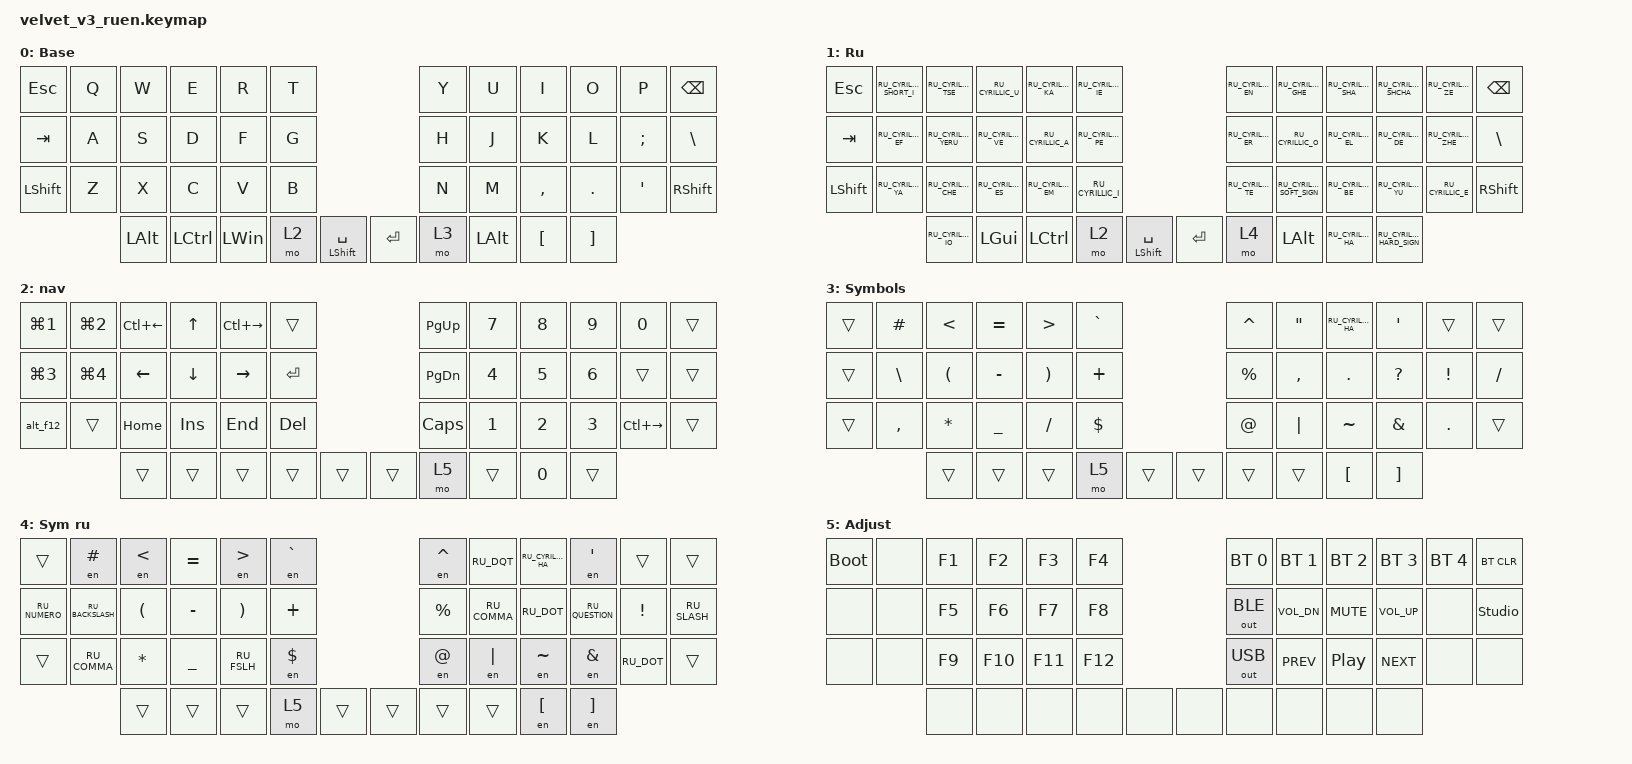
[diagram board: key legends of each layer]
#include "keys_ru.h"
#include <behaviors.dtsi>
#include <dt-bindings/zmk/bt.h>
#include <dt-bindings/zmk/keys.h>
#include <dt-bindings/zmk/outputs.h>

/ {
    combos {
        compatible = "zmk,combos";

        cmben {
            bindings = <&layer_en>;
            key-positions = <3 4>;
            layers = <1>;
        };

        cmbru {
            bindings = <&layer_ru>;
            key-positions = <8 7>;
            layers = <0>;
        };
    };

    macros {
        to_ru: to_ru {
            compatible = "zmk,behavior-macro";
            #binding-cells = <0>;
            bindings = <&kp LS(LC(N2))>;
            label = "TO_RU";
            wait-ms = <0>;
            tap-ms = <30>;
        };

        to_en: to_en {
            compatible = "zmk,behavior-macro";
            #binding-cells = <0>;
            bindings = <&kp LS(LC(N1))>;
            label = "TO_EN";
            wait-ms = <0>;
            tap-ms = <30>;
        };

        layer_en: layer_en {
            compatible = "zmk,behavior-macro";
            #binding-cells = <0>;
            bindings = <&to 0 &to_en>;
            label = "LAYER_EN";
            wait-ms = <0>;
            tap-ms = <30>;
        };

        layer_ru: layer_ru {
            compatible = "zmk,behavior-macro";
            #binding-cells = <0>;
            bindings = <&to 1 &to_ru>;
            label = "LAYER_RU";
            tap-ms = <30>;
            wait-ms = <0>;
        };

        en: en {
            compatible = "zmk,behavior-macro-one-param";
            #binding-cells = <1>;
            bindings =
                <&to_en>,
                <&macro_press>,
                <&macro_param_1to1 &kp MACRO_PLACEHOLDER>,
                <&macro_pause_for_release>,
                <&macro_release>,
                <&macro_param_1to1 &kp MACRO_PLACEHOLDER>,
                <&macro_tap>,
                <&to_ru>;

            label = "EN";
            wait-ms = <0>;
            tap-ms = <30>;
        };

        alt_f12: alt_f12 {
            compatible = "zmk,behavior-macro";
            #binding-cells = <0>;
            bindings = <&kp LA(F12)>;
            label = "ALT_F12";
        };
    };

    keymap {
        compatible = "zmk,keymap";

        en {
            bindings = <
&kp ESC    &kp Q  &kp W         &kp E             &kp R         &kp T                                   &kp Y  &kp U     &kp I      &kp O     &kp P     &kp BSPC
&kp TAB    &kp A  &kp S         &kp D             &kp F         &kp G                                   &kp H  &kp J     &kp K      &kp L     &kp SEMI  &kp BSLH
&kp LSHFT  &kp Z  &kp X         &kp C             &kp V         &kp B                                   &kp N  &kp M     &kp COMMA  &kp DOT   &kp SQT   &kp RSHFT
                  &kp LEFT_ALT  &kp LEFT_CONTROL  &kp LEFT_WIN  &mo 2  &mt LEFT_SHIFT SPACE    &kp RET  &mo 3  &kp LALT  &kp LBKT   &kp RBKT
            >;

            display-name = "Base";
        };

        ru {
            display-name = "Ru";
            bindings = <
&kp ESC    &kp RU_CYRILLIC_SHORT_I  &kp RU_CYRILLIC_TSE   &kp RU_CYRILLIC_U   &kp RU_CYRILLIC_KA  &kp RU_CYRILLIC_IE                                   &kp RU_CYRILLIC_EN  &kp RU_CYRILLIC_GHE        &kp RU_CYRILLIC_SHA  &kp RU_CYRILLIC_SHCHA      &kp RU_CYRILLIC_ZE   &kp BSPC
&kp TAB    &kp RU_CYRILLIC_EF       &kp RU_CYRILLIC_YERU  &kp RU_CYRILLIC_VE  &kp RU_CYRILLIC_A   &kp RU_CYRILLIC_PE                                   &kp RU_CYRILLIC_ER  &kp RU_CYRILLIC_O          &kp RU_CYRILLIC_EL   &kp RU_CYRILLIC_DE         &kp RU_CYRILLIC_ZHE  &kp BSLH
&kp LSHFT  &kp RU_CYRILLIC_YA       &kp RU_CYRILLIC_CHE   &kp RU_CYRILLIC_ES  &kp RU_CYRILLIC_EM  &kp RU_CYRILLIC_I                                    &kp RU_CYRILLIC_TE  &kp RU_CYRILLIC_SOFT_SIGN  &kp RU_CYRILLIC_BE   &kp RU_CYRILLIC_YU         &kp RU_CYRILLIC_E    &kp RSHFT
                                    &kp RU_CYRILLIC_IO    &kp LGUI            &kp LCTRL           &mo 2               &mt LEFT_SHIFT SPACE    &kp RET  &mo 4               &kp LALT                   &kp RU_CYRILLIC_HA   &kp RU_CYRILLIC_HARD_SIGN
            >;
        };

        nav {
            bindings = <
&kp LG(N1)  &kp LG(NUMBER_2)  &kp LC(LEFT)  &kp UP    &kp LC(RIGHT)  &trans                     &kp PAGE_UP    &kp N7        &kp N8        &kp N9        &kp N0         &trans
&kp LG(N3)  &kp LG(N4)        &kp LEFT      &kp DOWN  &kp RIGHT      &kp RET                    &kp PAGE_DOWN  &kp NUMBER_4  &kp NUMBER_5  &kp NUMBER_6  &trans         &trans
&alt_f12    &trans            &kp HOME      &kp INS   &kp END        &kp DEL                    &kp CLCK       &kp NUMBER_1  &kp NUMBER_2  &kp NUMBER_3  &kp LC(RIGHT)  &trans
                              &trans        &trans    &trans         &trans   &trans    &trans  &mo 5          &trans        &kp NUMBER_0  &trans
            >;

            display-name = "nav";
            label = "Navigation";
        };

        sym_en {
            bindings = <
&trans  &kp HASH   &kp LT    &kp EQUAL       &kp GT    &kp GRAVE                    &kp CARET  &kp DQT    &kp RU_CYRILLIC_HA  &kp SQT       &trans    &trans
&trans  &kp BSLH   &kp LPAR  &kp MINUS       &kp RPAR  &kp PLUS                     &kp PRCNT  &kp COMMA  &kp DOT             &kp QUESTION  &kp EXCL  &kp SLASH
&trans  &kp COMMA  &kp STAR  &kp UNDERSCORE  &kp FSLH  &kp DLLR                     &kp AT     &kp PIPE   &kp TILDE           &kp AMPS      &kp DOT   &trans
                   &trans    &trans          &trans    &mo 5      &trans    &trans  &trans     &trans     &kp LBKT            &kp RBKT
            >;

            display-name = "Symbols";
        };

        sym_ru {
            display-name = "Sym ru";
            bindings = <
&trans         &en HASH          &en LT    &kp EQUAL       &en GT       &en GRAVE                    &en CARET  &kp RU_DQT    &kp RU_CYRILLIC_HA  &en SQT          &trans      &trans
&kp RU_NUMERO  &kp RU_BACKSLASH  &kp LPAR  &kp MINUS       &kp RPAR     &kp PLUS                     &kp PRCNT  &kp RU_COMMA  &kp RU_DOT          &kp RU_QUESTION  &kp EXCL    &kp RU_SLASH
&trans         &kp RU_COMMA      &kp STAR  &kp UNDERSCORE  &kp RU_FSLH  &en DLLR                     &en AT     &en PIPE      &en TILDE           &en AMPS         &kp RU_DOT  &trans
                                 &trans    &trans          &trans       &mo 5      &trans    &trans  &trans     &trans        &en LBKT            &en RBKT
            >;
        };

        adj {
            bindings = <
&bootloader  &none  &kp F1  &kp F2   &kp F3   &kp F4                   &bt BT_SEL 0  &bt BT_SEL 1  &bt BT_SEL 2      &bt BT_SEL 3  &bt BT_SEL 4  &bt BT_CLR
&none        &none  &kp F5  &kp F6   &kp F7   &kp F8                   &out OUT_BLE  &kp C_VOL_DN  &kp C_MUTE        &kp C_VOL_UP  &none         &studio_unlock
&none        &none  &kp F9  &kp F10  &kp F11  &kp F12                  &out OUT_USB  &kp C_PREV    &kp C_PLAY_PAUSE  &kp C_NEXT    &none         &none
                    &none   &none    &none    &none    &none    &none  &none         &none         &none             &none
            >;

            display-name = "Adjust";
        };
    };
};
